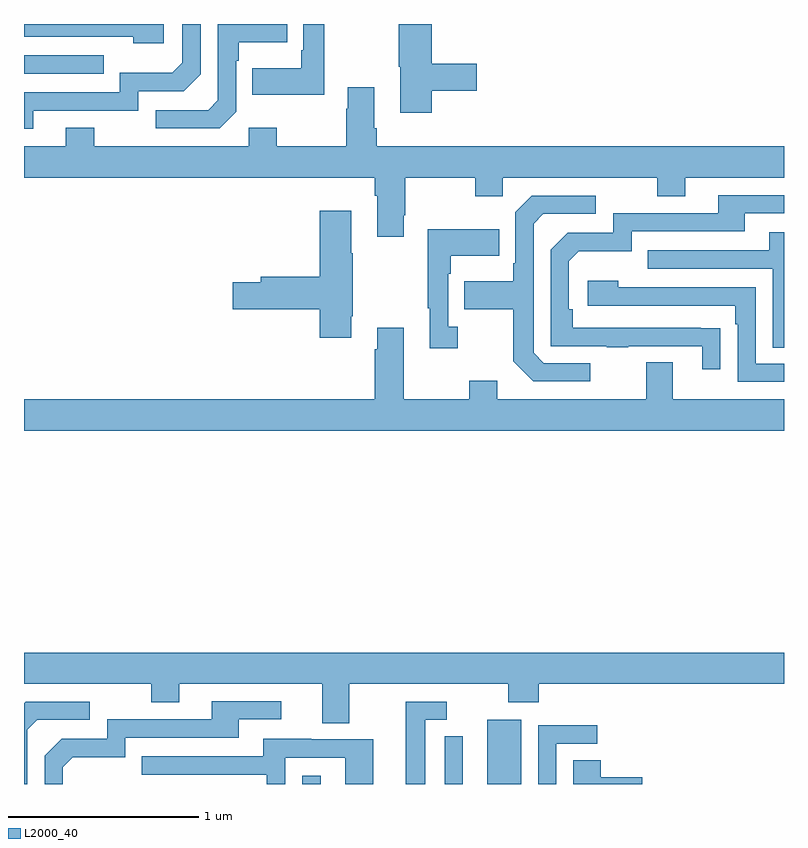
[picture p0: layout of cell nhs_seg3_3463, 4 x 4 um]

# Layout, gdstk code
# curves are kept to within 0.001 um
import gdstk
lib = gdstk.Library(unit=1e-6, precision=1e-09)
def R(c, l, rs):  # rectangles x0, y0, x1, y1
    for r in rs: c.add(gdstk.rectangle(r[:2], r[2:], *l))
def P(c, l, *ps):  # polygons
    for p in ps: c.add(gdstk.Polygon(p, *l))
L2000_40 = (2000, 40)

nhs_seg3_3463 = lib.new_cell('nhs_seg3_3463')
R(nhs_seg3_3463, L2000_40, [(292.464,688.4,292.561,688.444), (293.438,688.4,293.617,688.738), (291,692.139,291.419,692.235)])
P(nhs_seg3_3463, L2000_40, [(291.049,691.944),(291.6,691.944),(291.6,692.046),(291.84,692.046),(291.93,692.136),(291.93,692.4),(291.834,692.4),(291.834,692.196),(291.781,692.143),(291.504,692.143),(291.504,692.04),(291,692.04),(291,691.848),(291.049,691.848)],
  [(293.147,692.05),(293.383,692.05),(293.383,692.192),(293.147,692.192),(293.147,692.4),(292.972,692.4),(292.972,692.175),(292.979,692.175),(292.979,691.932),(293.147,691.932)],
  [(291.736,692.4),(291,692.4),(291,692.334),(291.575,692.334),(291.575,692.3),(291.736,692.3)],
  [(292.116,691.938),(292.116,692.207),(292.129,692.207),(292.129,692.303),(292.385,692.303),(292.385,692.4),(292.02,692.4),(292.02,691.998),(291.969,691.947),(291.693,691.947),(291.693,691.851),(292.029,691.851)],
  [(292.579,692.4),(292.47,692.4),(292.47,692.263),(292.458,692.263),(292.458,692.167),(292.201,692.167),(292.201,692.027),(292.579,692.027)],
  [(292.856,691.852),(292.843,691.852),(292.843,692.068),(292.703,692.068),(292.703,691.955),(292.696,691.955),(292.696,691.756),(292.329,691.756),(292.329,691.855),(292.182,691.855),(292.182,691.756),(291.369,691.756),(291.369,691.855),(291.221,691.855),(291.221,691.756),(291,691.756),(291,691.592),(292.847,691.592),(292.847,691.496),(292.859,691.496),(292.859,691.281),(292.999,691.281),(292.999,691.393),(293.007,691.393),(293.007,691.592),(293.374,691.592),(293.374,691.493),(293.52,691.493),(293.52,691.592),(294.334,691.592),(294.334,691.493),(294.481,691.493),(294.481,691.592),(295,691.592),(295,691.756),(292.856,691.756)],
  [(294.665,690.8),(293.888,690.801),(293.888,690.898),(293.868,690.898),(293.868,691.152),(293.921,691.205),(294.198,691.205),(294.198,691.308),(294.793,691.308),(294.793,691.404),(295,691.404),(295,691.5),(294.653,691.5),(294.653,691.404),(294.102,691.404),(294.102,691.302),(293.862,691.302),(293.772,691.212),(293.772,690.705),(294.067,690.705),(294.067,690.7),(294.179,690.7),(294.179,690.705),(294.569,690.705),(294.569,690.582),(294.665,690.582)],
  [(293.98,690.615),(293.736,690.615),(293.682,690.669),(293.682,691.35),(293.733,691.401),(294.01,691.401),(294.01,691.497),(293.673,691.497),(293.586,691.41),(293.586,691.141),(293.574,691.141),(293.574,691.045),(293.317,691.045),(293.317,690.898),(293.574,690.898),(293.574,690.625),(293.679,690.519),(293.98,690.519)],
  [(292.723,690.862),(292.731,690.862),(292.731,691.193),(292.723,691.193),(292.723,691.417),(292.556,691.417),(292.556,691.07),(292.247,691.07),(292.247,691.04),(292.098,691.04),(292.098,690.898),(292.556,690.898),(292.556,690.75),(292.723,690.75)],
  [(293.284,690.806),(293.232,690.806),(293.232,691.085),(293.245,691.085),(293.245,691.181),(293.501,691.181),(293.501,691.321),(293.124,691.321),(293.124,690.905),(293.135,690.905),(293.135,690.693),(293.284,690.693)],
  [(295,691.303),(294.923,691.303),(294.923,691.209),(294.283,691.209),(294.283,691.113),(294.942,691.113),(294.942,690.697),(295,690.697)],
  [(295,690.612),(294.852,690.612),(294.852,691.014),(294.128,691.014),(294.128,691.048),(293.967,691.048),(293.967,690.918),(294.743,690.918),(294.743,690.821),(294.756,690.821),(294.756,690.516),(295,690.516)],
  [(295,690.424),(294.415,690.424),(294.415,690.619),(294.275,690.619),(294.275,690.424),(293.491,690.424),(293.491,690.523),(293.344,690.523),(293.344,690.424),(292.999,690.424),(292.999,690.802),(292.859,690.802),(292.859,690.689),(292.847,690.689),(292.847,690.424),(291,690.424),(291,690.26),(295,690.26)],
  [(291,688.928),(291.67,688.928),(291.67,688.829),(291.817,688.829),(291.817,688.928),(292.571,688.928),(292.571,688.72),(292.711,688.72),(292.711,688.928),(293.548,688.928),(293.548,688.829),(293.708,688.829),(293.708,688.928),(295,688.928),(295,689.092),(291,689.092)],
  [(291.204,688.488),(291.257,688.541),(291.534,688.541),(291.534,688.644),(292.129,688.644),(292.129,688.74),(292.354,688.74),(292.354,688.836),(291.989,688.836),(291.989,688.74),(291.438,688.74),(291.438,688.638),(291.198,688.638),(291.108,688.548),(291.108,688.4),(291.204,688.4)],
  [(291.018,688.686),(291.069,688.737),(291.346,688.737),(291.346,688.833),(291.009,688.833),(291,688.824),(291,688.4),(291.018,688.4)],
  [(293.113,688.737),(293.224,688.737),(293.224,688.833),(293.009,688.833),(293.009,688.4),(293.113,688.4)],
  [(293.802,688.611),(294.016,688.611),(294.016,688.71),(293.706,688.71),(293.706,688.4),(293.802,688.4)],
  [(293.309,688.498),(293.31,688.498),(293.31,688.652),(293.214,688.652),(293.214,688.4),(293.309,688.4)],
  [(292.374,688.539),(292.692,688.539),(292.692,688.4),(292.837,688.4),(292.837,688.635),(292.513,688.635),(292.513,688.639),(292.259,688.639),(292.259,688.545),(291.619,688.545),(291.619,688.449),(292.278,688.449),(292.278,688.4),(292.374,688.4)],
  [(294.253,688.436),(294.035,688.436),(294.035,688.526),(293.891,688.526),(293.891,688.4),(294.253,688.4)])

lib.write_gds('nhs_seg3_3463.gds')
